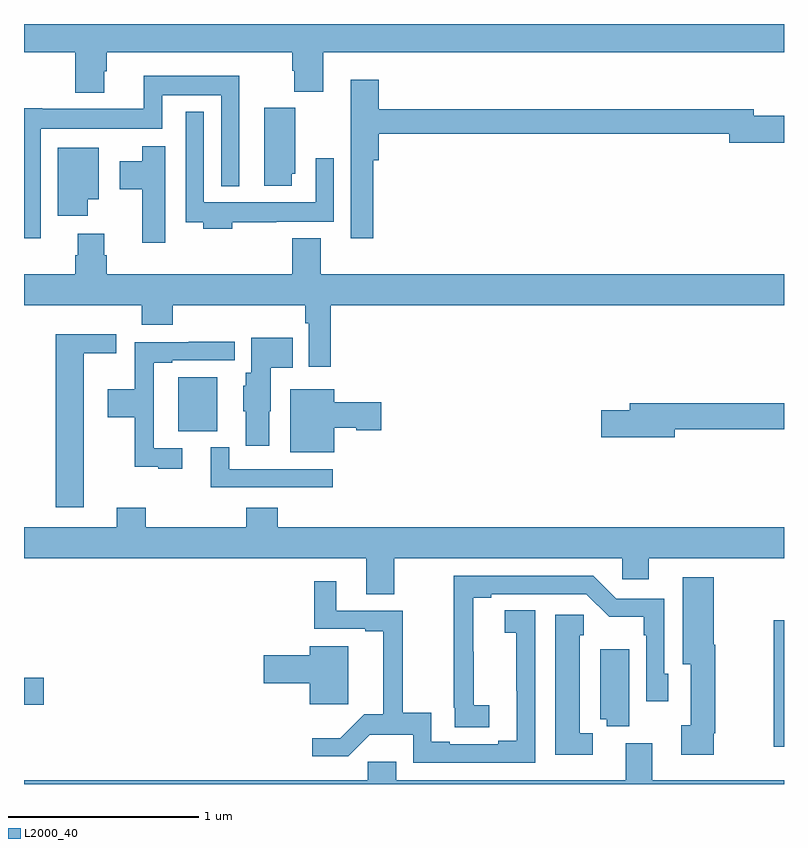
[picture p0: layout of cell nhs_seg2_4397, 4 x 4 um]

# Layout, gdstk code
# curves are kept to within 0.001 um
import gdstk
lib = gdstk.Library(unit=1e-6, precision=1e-09)
def R(c, l, rs):  # rectangles x0, y0, x1, y1
    for r in rs: c.add(gdstk.rectangle(r[:2], r[2:], *l))
def P(c, l, *ps):  # polygons
    for p in ps: c.add(gdstk.Polygon(p, *l))
L2000_40 = (2000, 40)

nhs_seg2_4397 = lib.new_cell('nhs_seg2_4397')
R(nhs_seg2_4397, L2000_40, [(352.945,627.996,353,628.663), (349,628.216,349.105,628.358), (349.811,629.657,350.017,629.941)])
P(nhs_seg2_4397, L2000_40, [(349.423,631.551),(349.436,631.551),(349.436,631.652),(350.411,631.652),(350.411,631.553),(350.423,631.553),(350.423,631.444),(350.576,631.444),(350.576,631.652),(353,631.652),(353,631.8),(349,631.8),(349,631.652),(349.271,631.652),(349.271,631.439),(349.423,631.439)],
  [(349.089,631.25),(349.728,631.25),(349.728,631.424),(350.037,631.424),(350.037,630.947),(350.134,630.947),(350.134,631.528),(349.631,631.528),(349.631,631.354),(349.096,631.354),(349.096,631.357),(349,631.357),(349,630.672),(349.089,630.672)],
  [(350.837,631.082),(350.867,631.082),(350.867,631.222),(352.712,631.222),(352.712,631.175),(353,631.175),(353,631.317),(352.84,631.317),(352.84,631.351),(350.867,631.351),(350.867,631.507),(350.72,631.507),(350.72,631.245),(350.721,631.245),(350.721,630.672),(350.837,630.672)],
  [(350.41,631.011),(350.428,631.011),(350.428,631.359),(350.264,631.359),(350.264,630.948),(350.41,630.948)],
  [(350.096,630.756),(350.327,630.756),(350.327,630.758),(350.631,630.758),(350.631,631.093),(350.535,631.093),(350.535,630.862),(349.947,630.862),(349.947,631.339),(349.851,631.339),(349.851,630.756),(349.943,630.756),(349.943,630.722),(350.096,630.722)],
  [(349.744,631.156),(349.622,631.156),(349.622,631.078),(349.505,631.078),(349.505,630.931),(349.622,630.931),(349.622,630.648),(349.744,630.648)],
  [(349.336,630.878),(349.393,630.878),(349.393,631.15),(349.178,631.15),(349.178,630.792),(349.336,630.792)],
  [(350.615,630.32),(353,630.32),(353,630.484),(350.563,630.484),(350.563,630.673),(350.411,630.673),(350.411,630.484),(349.436,630.484),(349.436,630.582),(349.423,630.582),(349.423,630.697),(349.283,630.697),(349.283,630.582),(349.271,630.582),(349.271,630.484),(349,630.484),(349,630.32),(349.619,630.32),(349.619,630.218),(349.784,630.218),(349.784,630.32),(350.479,630.32),(350.479,630.224),(350.499,630.224),(350.499,629.997),(350.615,629.997)],
  [(349.315,630.068),(349.486,630.068),(349.486,630.166),(349.166,630.166),(349.166,629.256),(349.315,629.256)],
  [(350.29,629.763),(350.299,629.763),(350.299,629.99),(350.414,629.99),(350.414,630.148),(350.195,630.148),(350.195,629.964),(350.168,629.964),(350.168,629.895),(350.153,629.895),(350.153,629.763),(350.168,629.763),(350.168,629.58),(350.29,629.58)],
  [(349.834,629.568),(349.683,629.568),(349.683,630.018),(349.78,630.018),(349.78,630.03),(350.11,630.03),(350.11,630.128),(349.867,630.128),(349.867,630.126),(349.582,630.126),(349.582,629.878),(349.44,629.878),(349.44,629.731),(349.582,629.731),(349.582,629.471),(349.706,629.471),(349.706,629.46),(349.834,629.46)],
  [(350.632,629.675),(350.748,629.675),(350.748,629.663),(350.881,629.663),(350.881,629.81),(350.632,629.81),(350.632,629.878),(350.402,629.878),(350.402,629.546),(350.632,629.546)],
  [(352.426,629.668),(353,629.668),(353,629.804),(352.187,629.804),(352.187,629.768),(352.038,629.768),(352.038,629.626),(352.426,629.626)],
  [(350.626,629.457),(350.079,629.457),(350.079,629.572),(349.982,629.572),(349.982,629.361),(350.626,629.361)],
  [(350.949,628.988),(352.149,628.988),(352.149,628.878),(352.288,628.878),(352.288,628.988),(353,628.988),(353,629.152),(350.336,629.152),(350.336,629.254),(350.171,629.254),(350.171,629.152),(349.64,629.152),(349.64,629.254),(349.487,629.254),(349.487,629.152),(349,629.152),(349,628.988),(350.801,628.988),(350.801,628.798),(350.949,628.798)],
  [(351.448,628.214),(351.366,628.214),(351.364,628.78),(351.46,628.78),(351.46,628.8),(351.96,628.8),(352.081,628.679),(352.263,628.679),(352.263,628.583),(352.275,628.583),(352.275,628.236),(352.392,628.236),(352.392,628.38),(352.371,628.38),(352.371,628.776),(352.116,628.776),(351.996,628.896),(351.262,628.896),(351.262,628.201),(351.268,628.201),(351.268,628.099),(351.448,628.099)],
  [(352.63,628.066),(352.638,628.066),(352.638,628.534),(352.63,628.534),(352.63,628.888),(352.466,628.888),(352.466,628.43),(352.508,628.43),(352.508,628.11),(352.458,628.11),(352.458,627.954),(352.63,627.954)],
  [(351.69,628.715),(351.531,628.715),(351.531,628.595),(351.592,628.595),(351.593,628.028),(351.497,628.028),(351.497,628.008),(351.241,628.008),(351.241,628.022),(351.144,628.022),(351.144,628.175),(350.993,628.175),(350.993,628.713),(350.644,628.713),(350.644,628.867),(350.527,628.867),(350.527,628.617),(350.795,628.617),(350.795,628.605),(350.891,628.605),(350.891,628.168),(350.791,628.168),(350.665,628.042),(350.517,628.042),(350.517,627.945),(350.706,627.945),(350.819,628.058),(351.048,628.058),(351.048,627.912),(351.69,627.912)],
  [(351.994,628.068),(351.925,628.068),(351.925,628.584),(351.947,628.584),(351.947,628.69),(351.797,628.69),(351.797,627.953),(351.994,627.953)],
  [(350.707,628.525),(350.504,628.525),(350.504,628.478),(350.262,628.478),(350.262,628.331),(350.504,628.331),(350.504,628.22),(350.707,628.22)],
  [(352.186,628.51),(352.034,628.51),(352.034,628.142),(352.066,628.142),(352.066,628.105),(352.186,628.105)],
  [(353,627.82),(352.306,627.82),(352.306,628.015),(352.166,628.015),(352.166,627.82),(350.959,627.82),(350.959,627.918),(350.808,627.918),(350.808,627.82),(349,627.82),(349,627.8),(353,627.8)])

lib.write_gds('nhs_seg2_4397.gds')
